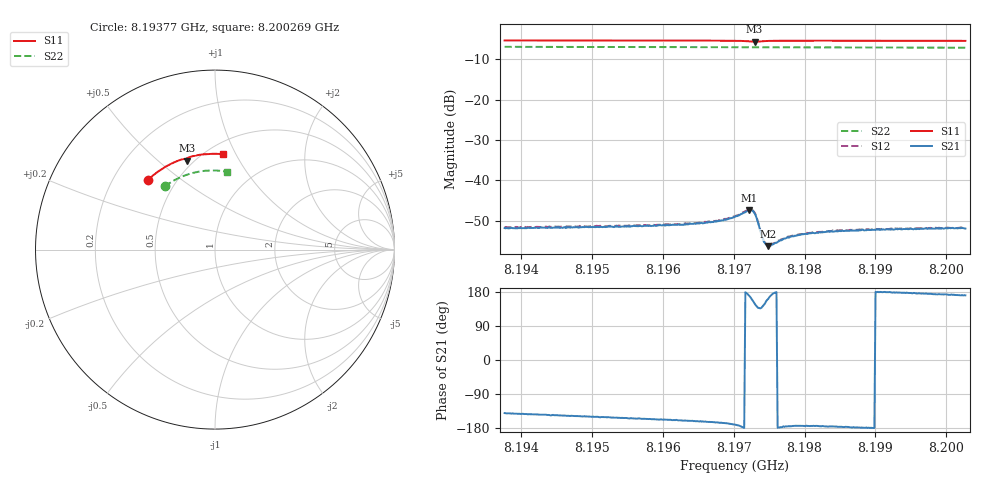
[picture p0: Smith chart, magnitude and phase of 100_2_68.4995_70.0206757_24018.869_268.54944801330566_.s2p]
#  HZ  S  RI  R  50.00
! Rohde & Schwarz Vector Network Analyzer
! Rohde-Schwarz,ZNB20-2Port,1311601062101988,3.16
! Created: UTC 3/20/2024, 4:53:01 PM
! freq[Hz]  re:S11  im:S11  re:S21  im:S21  re:S12  im:S12  re:S22  im:S22
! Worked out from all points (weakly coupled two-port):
!   401 points, 8.19377 GHz to 8.200269 GHz, reference 50 ohm
!   highest |S21| = -47.35 dB at 8.197214 GHz (marker M1); lowest = -56.3 dB at 8.19749 GHz (marker M2)
!   lowest |S11| = -5.7 dB at 8.197295 GHz (marker M3), VSWR 3.16, Z = 23 + j31.2 ohm
!   |S11| at or under -10 dB: nowhere
!   |S22| runs from -7.2 to -6.9 dB; largest |S21 - S12| = 0.00023
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8.1937697e9  -0.3754 0.3867  -0.00196 -0.00164  -0.00206 -0.00158  -0.2793 0.3519
8.1948583e9  -0.3161 0.4355  -0.00224 -0.00135  -0.00233 -0.00129  -0.2284 0.3852
8.1959469e9  -0.2501 0.4756  -0.00254 -0.00107  -0.00262 -0.00102  -0.1734 0.4109
8.1962231e9  -0.2322 0.4841  -0.00265 -0.000992  -0.0027 -0.000931  -0.159 0.4165
8.1965968e9  -0.2073 0.4947  -0.00282 -0.000904  -0.00296 -0.000804  -0.1391 0.4229
8.1967755e9  -0.1946 0.4992  -0.00301 -0.000819  -0.00304 -0.000703  -0.1294 0.4256
8.1970192e9  -0.1758 0.5042  -0.00347 -0.000576  -0.00357 -0.00042  -0.1162 0.429
8.1972142e9  -0.1582 0.5015  -0.00423 0.000701  -0.00422 0.000861  -0.1053 0.4312
8.1972629e9  -0.1563 0.4971  -0.00393 0.00153  -0.00393 0.00173  -0.1027 0.4318
8.1972954e9  -0.1576 0.4949  -0.00333 0.00201  -0.00333 0.0022  -0.1009 0.432
8.1973279e9  -0.1602 0.4948  -0.00259 0.00208  -0.00255 0.00224  -0.0992 0.4321
8.1973929e9  -0.162 0.5004  -0.00156 0.00141  -0.00156 0.00153  -0.0959 0.4332
8.1974254e9  -0.1609 0.5035  -0.00143 0.000991  -0.00142 0.00108  -0.0941 0.4334
8.1974579e9  -0.1589 0.5062  -0.00144 0.000674  -0.00144 0.00076  -0.0923 0.4338
8.1974904e9  -0.1565 0.5083  -0.00145 0.000478  -0.00149 0.000494  -0.0904 0.4342
8.1975554e9  -0.1513 0.5115  -0.0016 0.000128  -0.00161 0.000216  -0.0868 0.4349
8.1976853e9  -0.1412 0.5157  -0.00182 -8.75e-05  -0.00187 -4.17e-05  -0.0796 0.4361
8.1977991e9  -0.1327 0.5184  -0.00199 -0.000177  -0.00203 -0.000135  -0.0732 0.4371
8.1981078e9  -0.1102 0.5237  -0.00222 -0.000224  -0.00226 -0.000137  -0.0558 0.439
8.1984327e9  -0.0869 0.5279  -0.00233 -0.00018  -0.00238 -6.29e-05  -0.0375 0.4404
8.1991963e9  -0.0327 0.5333  -0.00246 2.91e-05  -0.00249 0.000185  0.00559 0.4406
8.2002687e9  0.0432 0.5313  -0.00249 0.000413  -0.00252 0.000529  0.0661 0.4336
